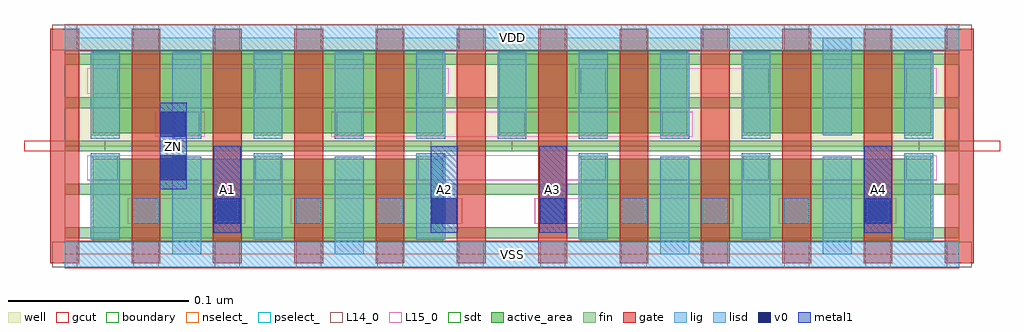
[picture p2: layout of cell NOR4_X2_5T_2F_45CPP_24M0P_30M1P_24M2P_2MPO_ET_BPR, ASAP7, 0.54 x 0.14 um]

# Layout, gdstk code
import gdstk
lib = gdstk.Library(unit=1e-6, precision=2.5e-10)
def R(c, l, rs):  # rectangles x0, y0, x1, y1
    for r in rs: c.add(gdstk.rectangle(r[:2], r[2:], *l))
def A(c, l, x, y, w, h, nx, ny, dx, dy):  # array of equal rectangles
    R(c, l, [(x+i*dx, y+j*dy, x+i*dx+w, y+j*dy+h) for i in range(nx) for j in range(ny)])
well = (1, 0)
fin = (2, 0)
gate = (7, 0)
gcut = (10, 0)
active_area = (11, 0)
nselect_ = (12, 0)
pselect_ = (13, 0)
L14_0 = (14, 0)
L15_0 = (15, 0)
lig = (16, 0)
lisd = (17, 0)
v0 = (18, 0)
metal1 = (19, 0)
sdt = (88, 0)
boundary = (100, 0)

nor4_x2_5t_2f_45cpp_24m0 = lib.new_cell('NOR4_X2_5T_2F_45CPP_24M0P_30M1P_24M2P_2MPO_ET_BPR')
R(nor4_x2_5t_2f_45cpp_24m0, well, [(0,0.06,0.495,0.12)])
A(nor4_x2_5t_2f_45cpp_24m0, fin, 0, 0.009, 0.495, 0.006, 1, 5, 0, 0.024)
A(nor4_x2_5t_2f_45cpp_24m0, gate, -0.008, -0.005, 0.016, 0.13, 12, 1, 0.045, 0)
R(nor4_x2_5t_2f_45cpp_24m0, gcut, [(0,-0.0075,0.495,0.0075), (-0.0225,0.057,0.0225,0.063), (0.2025,0.057,0.2475,0.063), (0.4725,0.057,0.5175,0.063), (0,0.1125,0.495,0.1275)])
A(nor4_x2_5t_2f_45cpp_24m0, active_area, 0.1055, 0.067, 0.104, 0.046, 3, 1, 0.135, 0)
R(nor4_x2_5t_2f_45cpp_24m0, active_area, [(0.0155,0.007,0.1195,0.053), (0.1055,0.007,0.2095,0.053), (0.2855,0.007,0.3895,0.053), (0.3755,0.007,0.4795,0.053), (0.0155,0.067,0.1195,0.113)])
R(nor4_x2_5t_2f_45cpp_24m0, nselect_, [(0,0,0.495,0.06)])
R(nor4_x2_5t_2f_45cpp_24m0, pselect_, [(0,0.06,0.495,0.12)])
A(nor4_x2_5t_2f_45cpp_24m0, L14_0, -0.007, -0.007, 0.014, 0.014, 12, 2, 0.045, 0.12)
A(nor4_x2_5t_2f_45cpp_24m0, L14_0, 0.038, 0.017, 0.014, 0.014, 4, 1, 0.045, 0)
A(nor4_x2_5t_2f_45cpp_24m0, L14_0, 0.263, 0.017, 0.014, 0.014, 5, 1, 0.045, 0)
A(nor4_x2_5t_2f_45cpp_24m0, L14_0, 0.0155, 0.041, 0.014, 0.014, 6, 2, 0.09, 0.048)
A(nor4_x2_5t_2f_45cpp_24m0, L14_0, 0.0605, 0.065, 0.014, 0.014, 4, 1, 0.09, 0)
R(nor4_x2_5t_2f_45cpp_24m0, L15_0, [(0,-0.007,0.495,0.007), (0.035,0.017,0.1,0.031), (0.125,0.017,0.22,0.031), (0.26,0.017,0.37,0.031), (0.395,0.017,0.46,0.031), (0.0125,0.041,0.4825,0.055), (0.05,0.065,0.0775,0.079), (0.1475,0.065,0.3475,0.079), (0.0125,0.089,0.2125,0.103), (0.2825,0.089,0.4825,0.103), (0,0.113,0.495,0.127)])
A(nor4_x2_5t_2f_45cpp_24m0, lig, 0.038, 0.017, 0.014, 0.014, 4, 1, 0.045, 0)
A(nor4_x2_5t_2f_45cpp_24m0, lig, 0.263, 0.017, 0.014, 0.014, 5, 1, 0.045, 0)
R(nor4_x2_5t_2f_45cpp_24m0, lig, [(0,-0.007,0.495,0.007), (0,0.113,0.495,0.127)])
A(nor4_x2_5t_2f_45cpp_24m0, lisd, 0.0145, 0.008, 0.016, 0.048, 6, 1, 0.09, 0)
A(nor4_x2_5t_2f_45cpp_24m0, lisd, 0.0145, 0.064, 0.016, 0.048, 9, 1, 0.045, 0)
R(nor4_x2_5t_2f_45cpp_24m0, lisd, [(0.0595,0,0.0755,0.054), (0.1495,0,0.1655,0.054), (0.3295,0,0.3455,0.054), (0.4195,0,0.4355,0.054), (0.4645,0.064,0.4805,0.112), (0.4195,0.066,0.4355,0.12)])
R(nor4_x2_5t_2f_45cpp_24m0, v0, [(0.083,0.017,0.097,0.031), (0.203,0.017,0.217,0.031), (0.263,0.017,0.277,0.031), (0.443,0.017,0.457,0.031), (0.053,0.041,0.067,0.055), (0.053,0.065,0.067,0.079)])
R(nor4_x2_5t_2f_45cpp_24m0, metal1, [(0.0825,0.012,0.0975,0.06), (0.2025,0.012,0.2175,0.06), (0.2625,0.012,0.2775,0.06), (0.4425,0.012,0.4575,0.06), (0.0525,0.036,0.0675,0.084)])
A(nor4_x2_5t_2f_45cpp_24m0, sdt, 0.0145, 0.012, 0.016, 0.042, 5, 1, 0.045, 0)
A(nor4_x2_5t_2f_45cpp_24m0, sdt, 0.2845, 0.012, 0.016, 0.042, 5, 1, 0.045, 0)
A(nor4_x2_5t_2f_45cpp_24m0, sdt, 0.0145, 0.066, 0.016, 0.042, 11, 1, 0.045, 0)
R(nor4_x2_5t_2f_45cpp_24m0, boundary, [(0,0,0.495,0.12)])
nor4_x2_5t_2f_45cpp_24m0.add(gdstk.Label('A4', (0.45,0.036), layer=19, texttype=251))
nor4_x2_5t_2f_45cpp_24m0.add(gdstk.Label('A3', (0.27,0.036), layer=19, texttype=251))
nor4_x2_5t_2f_45cpp_24m0.add(gdstk.Label('A2', (0.21,0.036), layer=19, texttype=251))
nor4_x2_5t_2f_45cpp_24m0.add(gdstk.Label('A1', (0.09,0.036), layer=19, texttype=251))
nor4_x2_5t_2f_45cpp_24m0.add(gdstk.Label('ZN', (0.06,0.06), layer=19, texttype=251))
nor4_x2_5t_2f_45cpp_24m0.add(gdstk.Label('VDD', (0.2475,0.12), layer=15, texttype=251))
nor4_x2_5t_2f_45cpp_24m0.add(gdstk.Label('VSS', (0.2475,0), layer=15, texttype=251))
nor4_x2_5t_2f_45cpp_24m0.add(gdstk.Label('VDD', (0.2475,0.12), layer=1, texttype=251))
nor4_x2_5t_2f_45cpp_24m0.add(gdstk.Label('VSS', (0.2475,0), layer=3, texttype=251))

lib.write_gds('NOR4_X2_5T_2F_45CPP_24M0P_30M1P_24M2P_2MPO_ET_BPR.gds')
